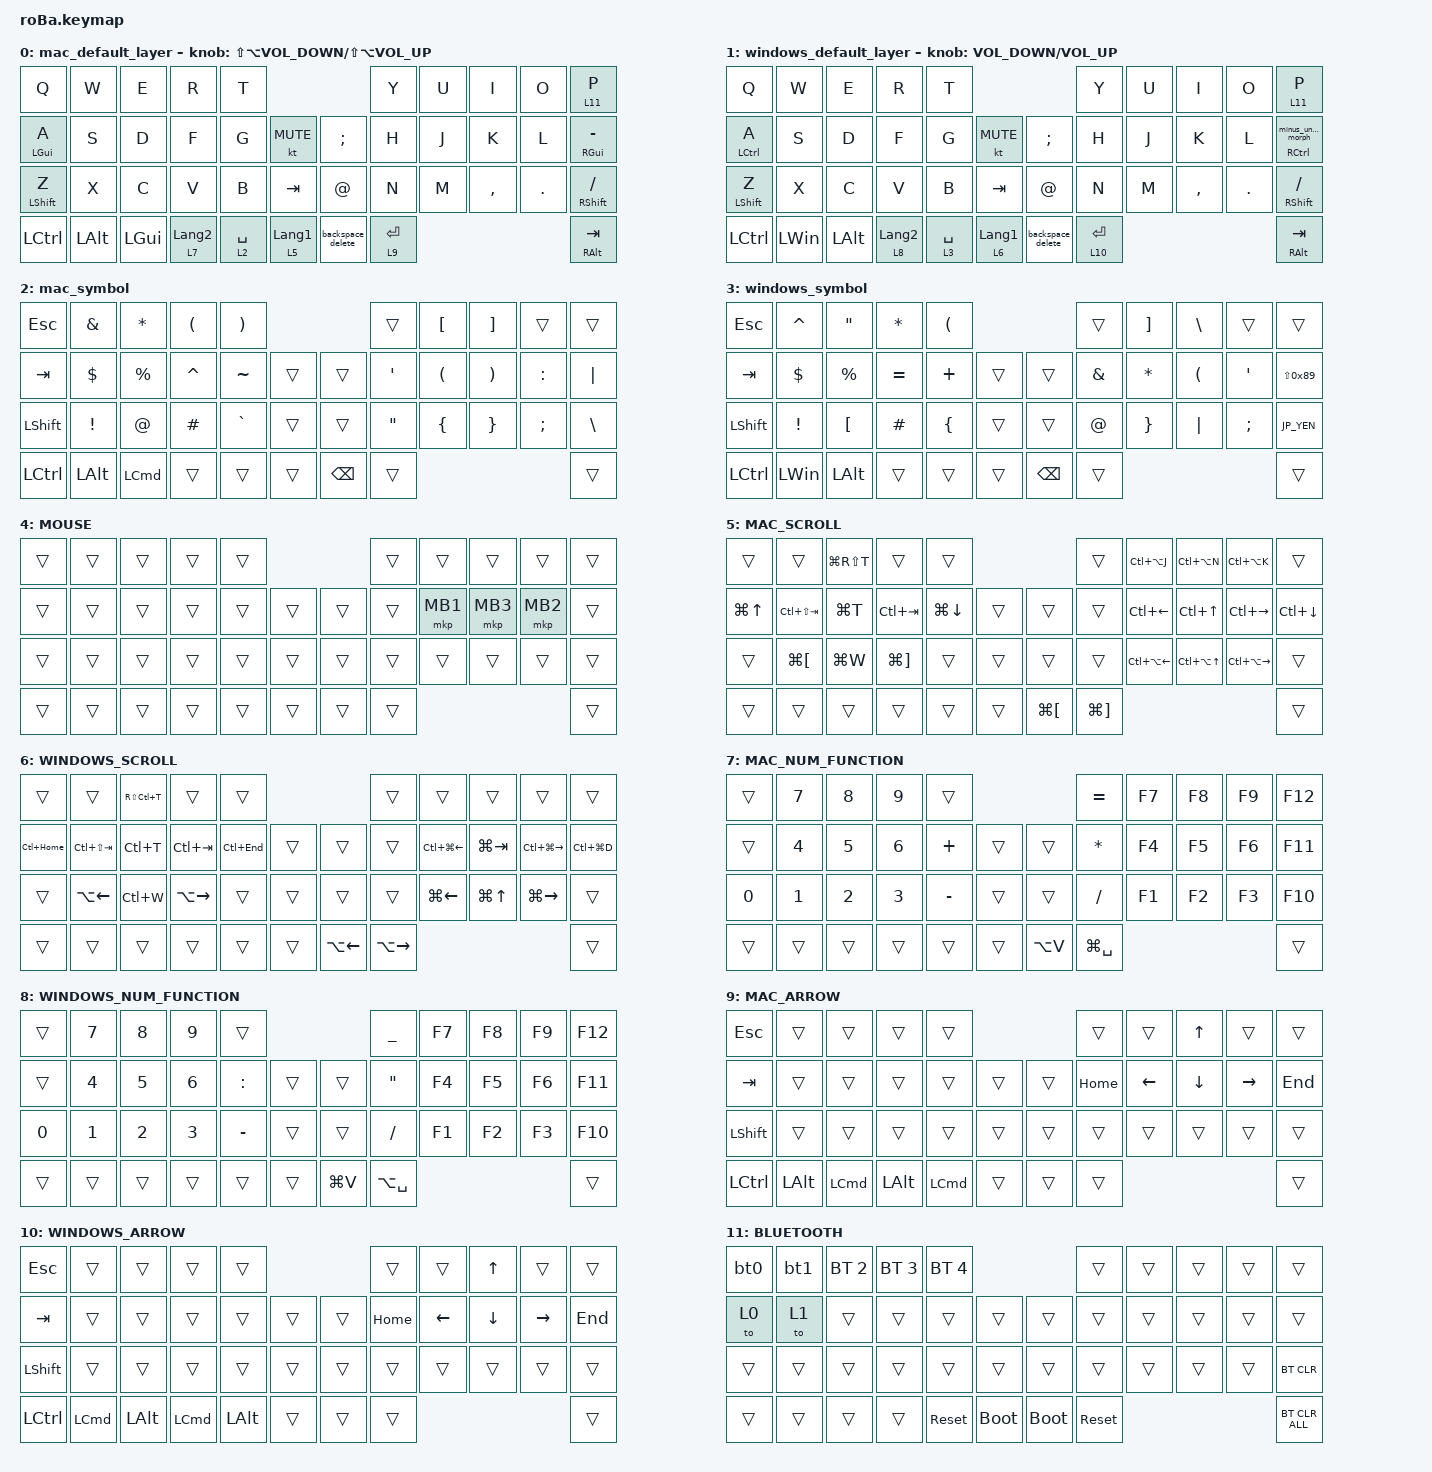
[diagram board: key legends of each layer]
#include <behaviors.dtsi>
#include <dt-bindings/zmk/bt.h>
#include <dt-bindings/zmk/keys.h>
#include <dt-bindings/zmk/pointing.h>

// OS設定を日本語キーボードのまま使用するための変換定義

#define JP_DQUOTE       AT                // "
#define JP_AMPERSAND    CARET             // &
#define JP_QUOTE        AMPERSAND         // '
#define JP_EQUAL        UNDER             // =
#define JP_CARET        EQUAL             // ^
#define JP_YEN          0x89              // ¥
#define JP_PLUS         COLON             // +
#define JP_TILDE        PLUS              // ~
#define JP_PIPE         LS(0x89)          // |
#define JP_AT           LEFT_BRACKET      // @
#define JP_COLON        SINGLE_QUOTE      // :
#define JP_ASTERISK     DOUBLE_QUOTES     // *
#define JP_BACKQUOTE    LEFT_BRACE        // `
#define JP_UNDERSCORE   LS(0x87)          // _
#define JP_LBRACKET     RIGHT_BRACKET     // [
#define JP_RBRACKET     BACKSLASH         // ]
#define JP_LPAREN       ASTERISK          // (
#define JP_RPAREN       LEFT_PARENTHESIS  // )
#define JP_LBRACE       RIGHT_BRACE       // {
#define JP_RBRACE       PIPE              // }
#define JP_KANA         LANGUAGE_1        // かな
#define JP_EISU         LANGUAGE_2        // 英数
#define JP_HANZEN       GRAVE             // 半角/全角

&mt {
    flavor = "balanced";
    quick-tap-ms = <0>;
};

&trackball {
    scroll-layers = <5 6>;

    arrows {
        layers = <7 8>;
        bindings =
            <&kp RIGHT_ARROW>,
            <&kp LEFT_ARROW>,
            <&kp UP_ARROW>,
            <&kp DOWN_ARROW>;

        tick = <10>;
        wait-ms = <5>;
        tap-ms = <5>;
    };
};

/ {
    combos {
        compatible = "zmk,combos";

        tab {
            bindings = <&kp TAB>;
            key-positions = <11 12>;
        };

        shift_tab {
            bindings = <&kp LS(TAB)>;
            key-positions = <12 13>;
        };

        double_quotation {
            bindings = <&kp DOUBLE_QUOTES>;
            key-positions = <20 21>;
        };

        eq {
            bindings = <&kp EQUAL>;
            key-positions = <24 25>;
        };

        SCROLL {
            bindings = <&mo 5>;
            key-positions = <19 20>;
        };

        esc {
            bindings = <&kp ESCAPE>;
            key-positions = <11 10>;
        };
    };

    macros {
        to_layer_0: to_layer_0 {
            compatible = "zmk,behavior-macro-one-param";
            #binding-cells = <1>;
            bindings = <&to 0 &macro_param_1to1 &kp MACRO_PLACEHOLDER>;
            label = "TO_LAYER_0";
        };

        bt0: bt0 {
            compatible = "zmk,behavior-macro";
            #binding-cells = <0>;
            bindings = <&bt BT_SEL 0>, <&macro_wait_time 500>, <&to 0>;

            label = "BT0";
        };

        bt1: bt1 {
            compatible = "zmk,behavior-macro";
            #binding-cells = <0>;
            bindings = <&bt BT_SEL 1>, <&macro_wait_time 500>, <&to 1>;

            label = "BT1";
        };

        exit_AML: exit_AML {
            compatible = "zmk,behavior-macro";
            wait-ms = <0>;
            tap-ms = <0>;
            #binding-cells = <0>;
            bindings = <&tog_off 4>;
            label = "exit_AML";
        };

        kp_exit_AML: kp_exit_AML {
            compatible = "zmk,behavior-macro-one-param";
            wait-ms = <0>;
            tap-ms = <0>;
            #binding-cells = <1>;
            bindings = <&macro_param_1to1 &kp MACRO_PLACEHOLDER &exit_AML>;
            label = "KP_exit_AML";
        };

        clipboard: clipboard {
            compatible = "zmk,behavior-macro";
            #binding-cells = <0>;
            wait-ms = <30>; // 入力間の待機時間
            tap-ms = <40>;  // タップの時間
            bindings =
                <&macro_press>,
                <&kp LGUI &kp SPACE>,
                <&macro_tap>,
                <&kp N4>,
                <&macro_release>,
                <&kp SPACE &kp LGUI>;

            // SpaceとCmdを離す
        };
    };

    behaviors {
        lt_to_layer_0: lt_to_layer_0 {
            compatible = "zmk,behavior-hold-tap";
            label = "LAYER_TAP_TO_0";
            bindings = <&mo>, <&to_layer_0>;

            #binding-cells = <2>;
            tapping-term-ms = <200>;
        };

        minus_under_morph: minus_under_morph {
            compatible = "zmk,behavior-mod-morph";
            #binding-cells = <0>;
            bindings = <&kp MINUS>, <&kp JP_UNDERSCORE>;

            mods = <(MOD_LSFT|MOD_RSFT)>;
        };

        // 長押しで指定したキー, タップで "-", Shift+タップで "_"

        minus_under: minus_under {
            compatible = "zmk,behavior-hold-tap";
            bindings = <&kp>, <&minus_under_morph>;

            #binding-cells = <2>;
            flavor = "balanced";
            tapping-term-ms = <200>;
            quick-tap-ms = <200>;
        };

        backspace_delete: backspace_delete {
            compatible = "zmk,behavior-mod-morph";
            label = "BACKSPACE_DELETE";
            bindings = <&kp BACKSPACE>, <&kp DELETE>;

            #binding-cells = <0>;
            mods = <(MOD_LSFT|MOD_RSFT)>;
        };

        tog_off: toggle_layer_off {
            compatible = "zmk,behavior-toggle-layer";
            #binding-cells = <1>;
            display-name = "Toggle Layer Off";
            toggle-mode = "off";
        };

        mt_exit_AML_on_tap: mt_exit_AML_on_tap {
            compatible = "zmk,behavior-hold-tap";
            label = "MT_exit_AML_ON_TAP";
            bindings = <&kp>, <&kp_exit_AML>;

            #binding-cells = <2>;
            tapping-term-ms = <200>;
            flavor = "balanced";
            quick-tap-ms = <200>;
        };
    };

    keymap {
        compatible = "zmk,keymap";

        mac_default_layer {
            bindings = <
&kp Q                             &kp W         &kp E         &kp R             &kp T                                                 &kp Y        &kp U  &kp I      &kp O    &lt 11 P
&mt_exit_AML_on_tap LGUI A        &kp S         &kp D         &kp F             &kp G        &kt K_MUTE            &kp SEMI           &kp H        &kp J  &kp K      &kp L    &mt_exit_AML_on_tap RIGHT_GUI MINUS
&mt_exit_AML_on_tap LEFT_SHIFT Z  &kp X         &kp C         &kp V             &kp B        &kp TAB               &kp AT_SIGN        &kp N        &kp M  &kp COMMA  &kp DOT  &mt_exit_AML_on_tap RSHIFT SLASH
&kp LCTRL                         &kp LEFT_ALT  &kp LEFT_GUI  &lt 7 LANGUAGE_2  &lt 2 SPACE  &lt 5 LANGUAGE_1      &backspace_delete  &lt 9 ENTER                             &mt_exit_AML_on_tap RIGHT_ALT TAB
            >;

            sensor-bindings = <&inc_dec_kp LS(LA(C_VOLUME_DOWN)) LS(LA(C_VOLUME_UP))>;
        };

        windows_default_layer {
            bindings = <
&kp Q                             &kp W         &kp E         &kp R             &kp T                                                 &kp Y         &kp U  &kp I      &kp O    &lt 11 P
&mt_exit_AML_on_tap LCTRL A       &kp S         &kp D         &kp F             &kp G        &kt K_MUTE            &kp SEMICOLON      &kp H         &kp J  &kp K      &kp L    &minus_under RIGHT_CONTROL 0
&mt_exit_AML_on_tap LEFT_SHIFT Z  &kp X         &kp C         &kp V             &kp B        &kp TAB               &kp AT_SIGN        &kp N         &kp M  &kp COMMA  &kp DOT  &mt_exit_AML_on_tap RSHIFT SLASH
&kp LCTRL                         &kp LEFT_WIN  &kp LEFT_ALT  &lt 8 LANGUAGE_2  &lt 3 SPACE  &lt 6 LANGUAGE_1      &backspace_delete  &lt 10 ENTER                             &mt_exit_AML_on_tap RIGHT_ALT TAB
            >;

            sensor-bindings = <&inc_dec_kp C_VOLUME_DOWN C_VOLUME_UP>;
        };

        mac_symbol {
            bindings = <
&kp ESCAPE      &kp AMPERSAND    &kp ASTERISK      &kp LEFT_PARENTHESIS  &kp RIGHT_PARENTHESIS                             &trans             &kp LEFT_BRACKET      &kp RIGHT_BRACKET      &trans         &trans
&kp TAB         &kp DOLLAR       &kp PERCENT       &kp CARET             &kp TILDE              &trans      &trans         &kp SINGLE_QUOTE   &kp LEFT_PARENTHESIS  &kp RIGHT_PARENTHESIS  &kp COLON      &kp PIPE
&kp LEFT_SHIFT  &kp EXCLAMATION  &kp AT_SIGN       &kp HASH              &kp GRAVE              &trans      &trans         &kp DOUBLE_QUOTES  &kp LEFT_BRACE        &kp RIGHT_BRACE        &kp SEMICOLON  &kp BACKSLASH
&kp LCTRL       &kp LALT         &kp LEFT_COMMAND  &trans                &trans                 &trans      &kp BACKSPACE  &trans                                                                         &trans
            >;
        };

        windows_symbol {
            bindings = <
&kp ESCAPE      &kp JP_AMPERSAND  &kp JP_ASTERISK  &kp JP_LPAREN  &kp JP_RPAREN                                &trans         &kp JP_LBRACKET  &kp JP_RBRACKET  &trans        &trans
&kp TAB         &kp DOLLAR        &kp PERCENT      &kp JP_CARET   &kp JP_TILDE      &trans      &trans         &kp JP_QUOTE   &kp JP_LPAREN    &kp JP_RPAREN    &kp JP_COLON  &kp JP_PIPE
&kp LEFT_SHIFT  &kp EXCLAMATION   &kp JP_AT        &kp HASH       &kp JP_BACKQUOTE  &trans      &trans         &kp JP_DQUOTE  &kp JP_LBRACE    &kp JP_RBRACE    &kp SEMI      &kp JP_YEN
&kp LCTRL       &kp LEFT_WIN      &kp LEFT_ALT     &trans         &trans            &trans      &kp BACKSPACE  &trans                                                         &trans
            >;
        };

        MOUSE {
            bindings = <
&trans  &trans  &trans  &trans  &trans                      &trans  &trans    &trans    &trans    &trans
&trans  &trans  &trans  &trans  &trans  &trans      &trans  &trans  &mkp MB1  &mkp MB3  &mkp MB2  &trans
&trans  &trans  &trans  &trans  &trans  &trans      &trans  &trans  &trans    &trans    &trans    &trans
&trans  &trans  &trans  &trans  &trans  &trans      &trans  &trans                                &trans
            >;
        };

        MAC_SCROLL {
            bindings = <
&trans            &trans                &kp LG(RS(T))  &trans                 &trans                                                &trans                 &kp LC(LA(J))           &kp LC(LA(N))         &kp LC(LA(K))            &trans
&kp LG(UP_ARROW)  &kp LC(LS(TAB))       &kp LG(T)      &kp LC(TAB)            &kp LG(DOWN_ARROW)  &trans      &trans                &trans                 &kp LC(LEFT_ARROW)      &kp LC(UP_ARROW)      &kp LC(RIGHT_ARROW)      &kp LC(DOWN_ARROW)
&trans            &kp LG(LEFT_BRACKET)  &kp LG(W)      &kp LG(RIGHT_BRACKET)  &trans              &trans      &trans                &trans                 &kp LC(LA(LEFT_ARROW))  &kp LC(LA(UP_ARROW))  &kp LC(LA(RIGHT_ARROW))  &trans
&trans            &trans                &trans         &trans                 &trans              &trans      &kp LG(LEFT_BRACKET)  &kp LG(RIGHT_BRACKET)                                                                         &trans
            >;
        };

        WINDOWS_SCROLL {
            bindings = <
&trans        &trans              &kp RS(LC(T))  &trans               &trans                                       &trans               &trans                  &trans            &trans                   &trans
&kp LC(HOME)  &kp LC(LS(TAB))     &kp LC(T)      &kp LC(TAB)          &kp LC(END)  &trans      &trans              &trans               &kp LC(LG(LEFT_ARROW))  &kp LG(TAB)       &kp LC(LG(RIGHT_ARROW))  &kp LC(LG(D))
&trans        &kp LA(LEFT_ARROW)  &kp LC(W)      &kp LA(RIGHT_ARROW)  &trans       &trans      &trans              &trans               &kp LG(LEFT_ARROW)      &kp LG(UP_ARROW)  &kp LG(RIGHT_ARROW)      &trans
&trans        &trans              &trans         &trans               &trans       &trans      &kp LA(LEFT_ARROW)  &kp LA(RIGHT_ARROW)                                                                     &trans
            >;
        };

        MAC_NUM_FUNCTION {
            bindings = <
&trans        &kp NUMBER_7  &kp NUMBER_8  &kp NUMBER_9  &trans                            &kp EQUAL      &kp F7  &kp F8  &kp F9  &kp F12
&trans        &kp NUMBER_4  &kp NUMBER_5  &kp NUMBER_6  &kp PLUS   &trans      &trans     &kp ASTERISK   &kp F4  &kp F5  &kp F6  &kp F11
&kp NUMBER_0  &kp NUMBER_1  &kp NUMBER_2  &kp NUMBER_3  &kp MINUS  &trans      &trans     &kp SLASH      &kp F1  &kp F2  &kp F3  &kp F10
&trans        &trans        &trans        &trans        &trans     &trans      &kp LA(V)  &kp LG(SPACE)                          &trans
            >;
        };

        WINDOWS_NUM_FUNCTION {
            bindings = <
&trans        &kp NUMBER_7  &kp NUMBER_8  &kp NUMBER_9  &trans                              &kp JP_EQUAL     &kp F7  &kp F8  &kp F9  &kp F12
&trans        &kp NUMBER_4  &kp NUMBER_5  &kp NUMBER_6  &kp JP_PLUS  &trans      &trans     &kp JP_ASTERISK  &kp F4  &kp F5  &kp F6  &kp F11
&kp NUMBER_0  &kp NUMBER_1  &kp NUMBER_2  &kp NUMBER_3  &kp MINUS    &trans      &trans     &kp SLASH        &kp F1  &kp F2  &kp F3  &kp F10
&trans        &trans        &trans        &trans        &trans       &trans      &kp LG(V)  &kp LA(SPACE)                            &trans
            >;
        };

        MAC_ARROW {
            bindings = <
&kp ESCAPE      &trans        &trans            &trans        &trans                                &trans    &trans          &kp UP_ARROW    &trans           &trans
&kp TAB         &trans        &trans            &trans        &trans            &trans      &trans  &kp HOME  &kp LEFT_ARROW  &kp DOWN_ARROW  &kp RIGHT_ARROW  &kp END
&kp LEFT_SHIFT  &trans        &trans            &trans        &trans            &trans      &trans  &trans    &trans          &trans          &trans           &trans
&kp LCTRL       &kp LEFT_ALT  &kp LEFT_COMMAND  &kp LEFT_ALT  &kp LEFT_COMMAND  &trans      &trans  &trans                                                     &trans
            >;
        };

        WINDOWS_ARROW {
            bindings = <
&kp ESCAPE      &trans            &trans        &trans            &trans                            &trans    &trans          &kp UP_ARROW    &trans           &trans
&kp TAB         &trans            &trans        &trans            &trans        &trans      &trans  &kp HOME  &kp LEFT_ARROW  &kp DOWN_ARROW  &kp RIGHT_ARROW  &kp END
&kp LEFT_SHIFT  &trans            &trans        &trans            &trans        &trans      &trans  &trans    &trans          &trans          &trans           &trans
&kp LCTRL       &kp LEFT_COMMAND  &kp LEFT_ALT  &kp LEFT_COMMAND  &kp LEFT_ALT  &trans      &trans  &trans                                                     &trans
            >;
        };

        BLUETOOTH {
            bindings = <
&bt0    &bt1    &bt BT_SEL 2  &bt BT_SEL 3  &bt BT_SEL 4                                &trans      &trans  &trans  &trans  &trans
&to 0   &to 1   &trans        &trans        &trans        &trans           &trans       &trans      &trans  &trans  &trans  &trans
&trans  &trans  &trans        &trans        &trans        &trans           &trans       &trans      &trans  &trans  &trans  &bt BT_CLR
&trans  &trans  &trans        &trans        &sys_reset    &bootloader      &bootloader  &sys_reset                          &bt BT_CLR_ALL
            >;
        };
    };
};
